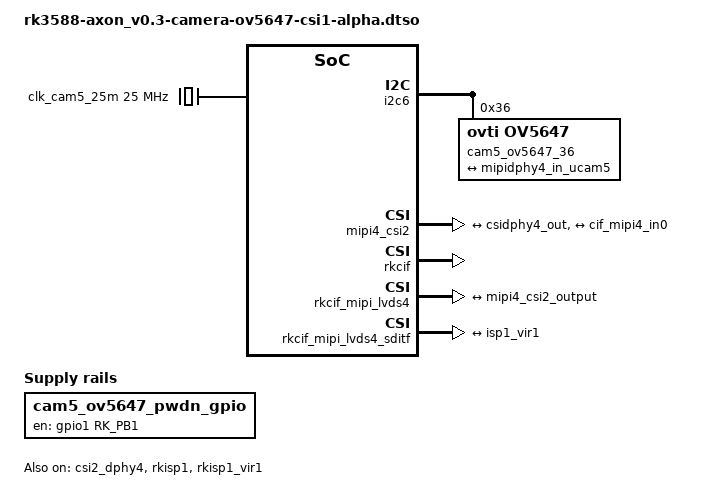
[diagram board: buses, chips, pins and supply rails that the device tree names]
// SPDX-License-Identifier: GPL-2.0+
// Copyright (C) 2024 Vicharak Computers PVT LTD

/dts-v1/;
/plugin/;

#include <dt-bindings/gpio/gpio.h>
#include <dt-bindings/pinctrl/rockchip.h>

&{/} {
	metadata {
		title = "Enable RasPi Camera V1.3 (OV5647) on CSI1 Alpha Axon V0.3";
		compatible = "vicharak,rk3588-axon", "rockchip,rk3588";
		category = "camera";
		exclusive = "cam5", "ov5647_6_36", "csi2_dphy4", "mipi4_csi2", \
					"rkcif_mipi_lvds4", "rkcif_mipi_lvds4_sditf", \
					"rkisp1_vir1";
		description = "Enables OV5647 based RaspberryPi Camera V1.3 on
\t\tVicharak Axon at I2C 6 bus address 36 on dphy4";
	};

	cam5_ov5647_pwdn_gpio: cam5-pwdn-gpio {
		status = "okay";
		compatible = "regulator-fixed";
		regulator-name = "cam5_pwdn_gpio";
		regulator-always-on;
		regulator-boot-on;
		enable-active-high;
		gpio = <&gpio1 RK_PB1 GPIO_ACTIVE_HIGH>;
		pinctrl-names = "default";
		pinctrl-0 = <&cam5_pwdn_gpio>;
	};

	clk_cam5_25m: external-cam5-clock-25m {
		#clock-cells = <0>;
		status = "okay";
		compatible = "fixed-clock";
		clock-frequency = <25000000>;
		clock-output-names = "clk_cam5_25m";
	};
};

&i2c6 {
	status = "okay";
	#address-cells = <1>;
	#size-cells = <0>;
	cam5_ov5647_36: cam5-ov5647@36 {
		status = "okay";
		compatible = "ovti,ov5647";
		reg = <0x36>;
		
		clocks = <&clk_cam5_25m>;
		clock-names = "xvclk";
		
		rockchip,camera-module-index = <5>;
		rockchip,camera-module-facing = "back";
		rockchip,camera-module-name = "rpi-camera-v1";
		rockchip,camera-module-lens-name = "default";
		
		port {
			cam5_ov5647_out0: endpoint {
				remote-endpoint = <&mipidphy4_in_ucam5>;
				data-lanes = <1 2>;
			};
		};
	};
};

&csi2_dphy4 {
	status = "okay";

	ports {
		#address-cells = <1>;
		#size-cells = <0>;

		port@0 {
			reg = <0>;
			#address-cells = <1>;
			#size-cells = <0>;

			mipidphy4_in_ucam5: endpoint@1 {
				reg = <1>;
				remote-endpoint = <&cam5_ov5647_out0>;
				data-lanes = <1 2>;
			};
		};

		port@1 {
			reg = <1>;
			#address-cells = <1>;
			#size-cells = <0>;

			csidphy4_out: endpoint@0 {
				reg = <0>;
				remote-endpoint = <&mipi4_csi2_input>;
			};
		};
	};
};

&mipi4_csi2 {
	status = "okay";

	ports {
		#address-cells = <1>;
		#size-cells = <0>;

		port@0 {
			reg = <0>;
			#address-cells = <1>;
			#size-cells = <0>;

			mipi4_csi2_input: endpoint@1 {
				reg = <1>;
				remote-endpoint = <&csidphy4_out>;
			};
		};

		port@1 {
			reg = <1>;
			#address-cells = <1>;
			#size-cells = <0>;

			mipi4_csi2_output: endpoint@0 {
				reg = <0>;
				remote-endpoint = <&cif_mipi4_in0>;
			};
		};
	};
};

&rkcif {
	status = "okay";
};

&rkcif_mipi_lvds4 {
	status = "okay";

	port {
		cif_mipi4_in0: endpoint {
			remote-endpoint = <&mipi4_csi2_output>;
		};
	};
};

&rkcif_mipi_lvds4_sditf {
	status = "okay";

	port {
		mipi_lvds4_sditf: endpoint {
			remote-endpoint = <&isp1_vir1>;
		};
	};
};

&rkcif_mmu {
	status = "okay";
};

&rkisp1 {
	status = "okay";
};

&isp1_mmu {
	status = "okay";
};

&rkisp1_vir1 {
	status = "okay";

	port {
		#address-cells = <1>;
		#size-cells = <0>;

		isp1_vir1: endpoint@0 {
			reg = <0>;
			remote-endpoint = <&mipi_lvds4_sditf>;
		};
	};
};

&pinctrl {
	camera {
		cam5_pwdn_gpio: cam5-pwdn-gpio {
			rockchip,pins = <1 RK_PB1 RK_FUNC_GPIO &pcfg_pull_up>;
		};
	};
};
